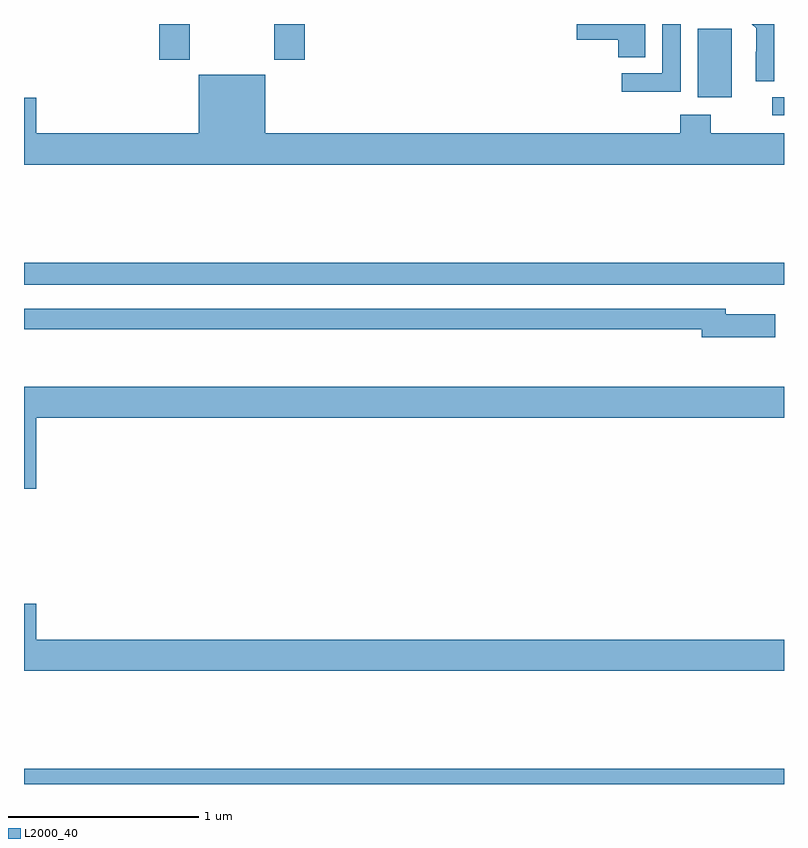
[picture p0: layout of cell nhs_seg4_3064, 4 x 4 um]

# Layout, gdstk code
import gdstk
lib = gdstk.Library(unit=1e-6, precision=1e-09)
def R(c, l, rs):  # rectangles x0, y0, x1, y1
    for r in rs: c.add(gdstk.rectangle(r[:2], r[2:], *l))
def P(c, l, *ps):  # polygons
    for p in ps: c.add(gdstk.Polygon(p, *l))
L2000_40 = (2000, 40)

nhs_seg4_3064 = lib.new_cell('nhs_seg4_3064')
R(nhs_seg4_3064, L2000_40, [(273,786.9,277,786.98), (276.939,790.419,277,790.515), (276.545,790.514,276.724,790.875), (273.713,790.713,273.873,790.9), (274.318,790.713,274.478,790.9)])
P(nhs_seg4_3064, L2000_40, [(276.456,790.9),(276.36,790.9),(276.36,790.641),(276.147,790.641),(276.147,790.543),(276.456,790.543)],
  [(276.948,790.9),(276.831,790.9),(276.854,790.877),(276.854,790.754),(276.852,790.754),(276.852,790.6),(276.948,790.6)],
  [(276.271,790.9),(275.91,790.9),(275.91,790.817),(276.128,790.817),(276.128,790.726),(276.271,790.726)],
  [(277,790.324),(276.615,790.324),(276.615,790.423),(276.455,790.423),(276.455,790.324),(274.27,790.324),(274.27,790.633),(273.92,790.633),(273.92,790.324),(273.064,790.324),(273.064,790.513),(273,790.513),(273,790.16),(277,790.16)],
  [(277,789.644),(273,789.644),(273,789.528),(276.79,789.528),(276.79,789.527),(277,789.527)],
  [(276.955,789.373),(276.694,789.373),(276.694,789.402),(273,789.402),(273,789.294),(276.566,789.294),(276.566,789.251),(276.955,789.251)],
  [(273.064,788.828),(277,788.828),(277,788.992),(273,788.992),(273,788.454),(273.064,788.454)],
  [(277,787.66),(273.064,787.66),(273.064,787.849),(273,787.849),(273,787.496),(277,787.496)])

lib.write_gds('nhs_seg4_3064.gds')
